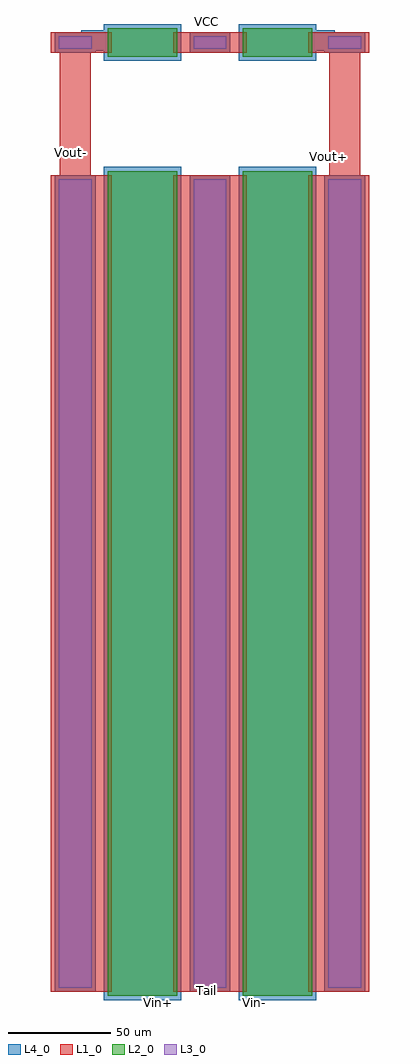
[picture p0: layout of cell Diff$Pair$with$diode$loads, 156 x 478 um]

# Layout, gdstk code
from math import pi, radians
import gdstk
lib = gdstk.Library(unit=1e-6, precision=5e-07)
def R(c, l, rs):  # rectangles x0, y0, x1, y1
    for r in rs: c.add(gdstk.rectangle(r[:2], r[2:], *l))
L1_0 = (1, 0)
L2_0 = (2, 0)
L3_0 = (3, 0)
L4_0 = (4, 0)

c_400_30_mos = lib.new_cell('400/30$MOS')
R(c_400_30_mos, L1_0, [(-45,-200,-15,200), (15,-200,45,200)])
R(c_400_30_mos, L2_0, [(-17,-202,17,202)])
R(c_400_30_mos, L3_0, [(-41,-198,-25,198), (25,-198,41,198)])
R(c_400_30_mos, L4_0, [(-19,-204,19,204), (-43,-200,-23,200), (23,-200,43,200)])
c_400_30_mos.add(gdstk.Label('Gate', (-1.5,8), layer=4, texttype=0))
c_400_30_mos.add(gdstk.Label('Drain', (-23.5,6), layer=4, texttype=0))
c_400_30_mos.add(gdstk.Label('Source', (23,6), layer=4, texttype=0))

c_10_30_mos = lib.new_cell('10/30$MOS')
R(c_10_30_mos, L1_0, [(-45,-5,-15,5), (15,-5,45,5)])
R(c_10_30_mos, L2_0, [(-17,-7,17,7)])
R(c_10_30_mos, L3_0, [(-41,-3,-25,3), (25,-3,41,3)])
R(c_10_30_mos, L4_0, [(-19,-9,19,9), (-43,-5,-23,5), (23,-5,43,5)])
c_10_30_mos.add(gdstk.Label('Gate', (-1.5,8), layer=4, texttype=0))
c_10_30_mos.add(gdstk.Label('Drain', (-33.5,6), layer=4, texttype=0))
c_10_30_mos.add(gdstk.Label('Source', (23,6), layer=4, texttype=0))

diff_pair_with_diode_loa = lib.new_cell('Diff$Pair$with$diode$loads')
diff_pair_with_diode_loa.add(gdstk.FlexPath([(144,405),(144,465)], 15, ends="extended", simple_path=True, layer=1, datatype=0))  # L1_0
diff_pair_with_diode_loa.add(gdstk.FlexPath([(12,405),(12,465)], 15, ends="extended", simple_path=True, layer=1, datatype=0))  # L1_0
diff_pair_with_diode_loa.add(gdstk.FlexPath([(134,471),(130,471)], 10, ends="extended", simple_path=True, layer=4, datatype=0))  # L4_0
diff_pair_with_diode_loa.add(gdstk.FlexPath([(20,471),(26,471)], 10, ends="extended", simple_path=True, layer=4, datatype=0))  # L4_0
diff_pair_with_diode_loa.add(gdstk.Reference(c_400_30_mos, (111,205), rotation=pi))
diff_pair_with_diode_loa.add(gdstk.Reference(c_10_30_mos, (45,470), rotation=pi))
diff_pair_with_diode_loa.add(gdstk.Reference(c_10_30_mos, (111,470)))
diff_pair_with_diode_loa.add(gdstk.Reference(c_400_30_mos, (45,205)))
diff_pair_with_diode_loa.add(gdstk.Label('Tail', (76.5,5.5), layer=4, texttype=0))
diff_pair_with_diode_loa.add(gdstk.Label('Vin+', (53,0), layer=4, texttype=0))
diff_pair_with_diode_loa.add(gdstk.Label('Vin-', (100,0), layer=4, texttype=0))
diff_pair_with_diode_loa.add(gdstk.Label('Vout+', (136,414), layer=4, texttype=0))
diff_pair_with_diode_loa.add(gdstk.Label('Vout-', (9.5,416), layer=4, texttype=0))
diff_pair_with_diode_loa.add(gdstk.Label('VCC', (76.5,480), layer=4, texttype=0))

lib.write_gds('Diff_Pair_with_diode_loads.gds')
